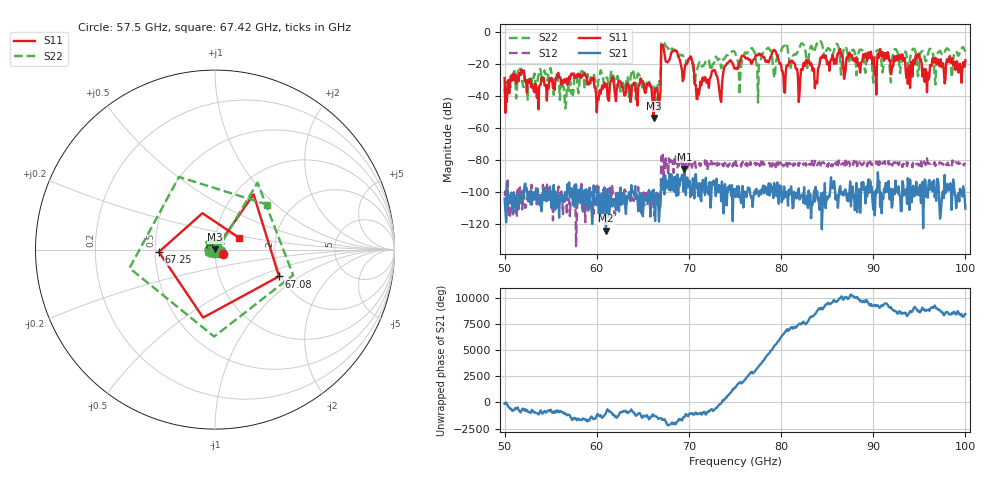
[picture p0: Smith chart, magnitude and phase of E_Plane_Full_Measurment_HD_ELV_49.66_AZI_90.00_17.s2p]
! 11/26/2026 3:23:05 PM
! C:\ANRITSUVNA\TEMP\TEMP.S2P
! CHANNEL.1
! TR.MEASUREMENT
! RAW.DATA
# HZ S RI R 50.0
! FREQ.HZ  S11RE  S11IM  S21RE  S21IM  S12RE  S12IM  S22RE  S22IM
!; PortSelection: Port_12
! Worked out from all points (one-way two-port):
!   601 points, 50 GHz to 100 GHz, reference 50 ohm
!   highest |S21| = -85.85 dB at 69.5 GHz (marker M1); lowest = -124.3 dB at 61 GHz (marker M2)
!   lowest |S11| = -53.9 dB at 66.17 GHz (marker M3), VSWR 1.00, Z = 50.1 + j0.147 ohm
!   |S11| at or under -10 dB: start of sweep to 67 GHz; 67.25 GHz to end of sweep
!   |S22| runs from -48.1 to -5.6 dB; largest |S21 - S12| = 0.00017
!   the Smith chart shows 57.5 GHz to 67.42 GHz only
!   S11 on the Smith chart (normalised r, x): 57.5 GHz: 1.09, -0.05; 67.08 GHz: 1.95, -0.68; 67.25 GHz: 0.52, -0.02; 67.42 GHz: 1.29, +0.18
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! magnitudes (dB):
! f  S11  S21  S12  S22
! 50 GHz  -29.0  -104.2  -102.5  -35.8
! 51.67 GHz  -26.3  -100.7  -97.2  -23.3
! 57.5 GHz  -26.2  -106.3  -99.5  -34.7
! 58.42 GHz  -27.2  -99.7  -110.7  -24.7
! 61 GHz  -33.7  -124.3  -108.1  -29.5
! 66.17 GHz  -53.9  -98.7  -108.9  -34.0
! 66.67 GHz  -41.5  -107.7  -102.8  -31.7
! 67.08 GHz  -8.3  -98.7  -78.6  -6.8
! 67.25 GHz  -10.1  -90.8  -92.3  -6.2
! 67.42 GHz  -16.6  -89.7  -86.1  -8.3
! 69.5 GHz  -25.6  -85.9  -77.5  -18.0
! 70.25 GHz  -15.9  -98.0  -81.2  -18.8
! 70.92 GHz  -42.2  -94.9  -82.8  -23.1
! 75 GHz  -23.3  -98.3  -84.4  -13.0
! 79.25 GHz  -11.5  -94.5  -83.2  -28.8
! 80.25 GHz  -27.8  -104.6  -84.2  -9.3
! 83.42 GHz  -24.5  -107.8  -80.0  -10.8
! 91.67 GHz  -16.7  -93.3  -80.8  -15.2
! 93.75 GHz  -32.6  -91.5  -81.8  -21.3
! 94.83 GHz  -15.0  -101.7  -82.6  -27.9
! 95.83 GHz  -38.0  -101.2  -79.2  -16.5
! 100 GHz  -17.9  -110.5  -82.8  -12.6
